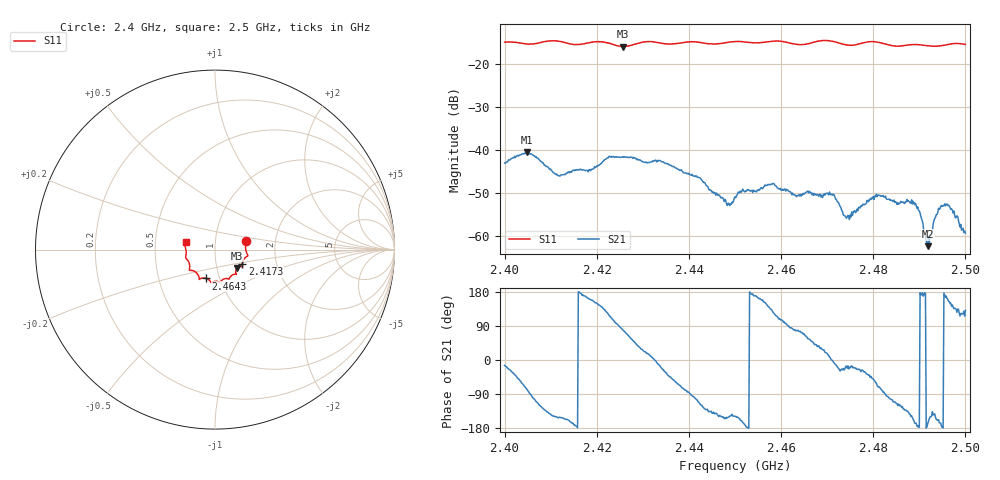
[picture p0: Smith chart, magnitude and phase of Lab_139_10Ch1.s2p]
# Hz S RI R 50
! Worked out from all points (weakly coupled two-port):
!   601 points, 2.4 GHz to 2.5 GHz, reference 50 ohm
!   highest |S21| = -40.60 dB at 2.4048 GHz (marker M1); lowest = -62.4 dB at 2.4918 GHz (marker M2)
!   lowest |S11| = -15.9 dB at 2.4257 GHz (marker M3), VSWR 1.38, Z = 62.5 - j13.1 ohm
!   |S11| at or under -10 dB: start of sweep to end of sweep
!   S12 and S22 are empty: the file has one direction only
!   S11 on the Smith chart (normalised r, x): 2.4 GHz: 1.41, +0.14; 2.4173 GHz: 1.34, -0.23; 2.4643 GHz: 0.86, -0.28; 2.5 GHz: 0.72, +0.06
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2.4e9  0.1731 0.0494  0.00681 -0.00175  0 0  0 0
2.404833e9  0.1705 0.0159  0.00207 -0.0091  0 0  0 0
2.4115e9  0.1819 -0.0356  -0.00444 -0.00239  0 0  0 0
2.416667e9  0.1529 -0.0747  -0.00589 0.00055  0 0  0 0
2.417333e9  0.152 -0.0822  -0.00568 0.00109  0 0  0 0
2.425667e9  0.1229 -0.1021  0.00154 0.0082  0 0  0 0
2.433333e9  0.1128 -0.137  0.00727 -0.00136  0 0  0 0
2.442167e9  0.074 -0.1635  -0.00181 -0.00442  0 0  0 0
2.448667e9  0.033 -0.1767  -0.00207 -0.00117  0 0  0 0
2.45e9  0.0295 -0.1807  -0.00241 -0.00148  0 0  0 0
2.458e9  -0.0184 -0.1828  -0.00265 0.00295  0 0  0 0
2.464333e9  -0.0498 -0.1606  0.000858 0.00276  0 0  0 0
2.466667e9  -0.0758 -0.1596  0.00198 0.00229  0 0  0 0
2.471e9  -0.0871 -0.163  0.00305 -1.97e-05  0 0  0 0
2.474333e9  -0.1002 -0.1326  0.00153 -0.000599  0 0  0 0
2.480833e9  -0.1428 -0.1103  0.00111 -0.00262  0 0  0 0
2.483333e9  -0.1407 -0.0899  -0.000409 -0.00262  0 0  0 0
2.488833e9  -0.1623 -0.0468  -0.00229 -0.000821  0 0  0 0
2.491833e9  -0.161 -0.0267  -0.000737 -0.000163  0 0  0 0
2.493833e9  -0.1614 -0.00396  -0.00163 -0.000664  0 0  0 0
2.4955e9  -0.1658 0.0147  -0.00232 0.000366  0 0  0 0
2.5e9  -0.1638 0.0422  -0.000701 0.000807  0 0  0 0
